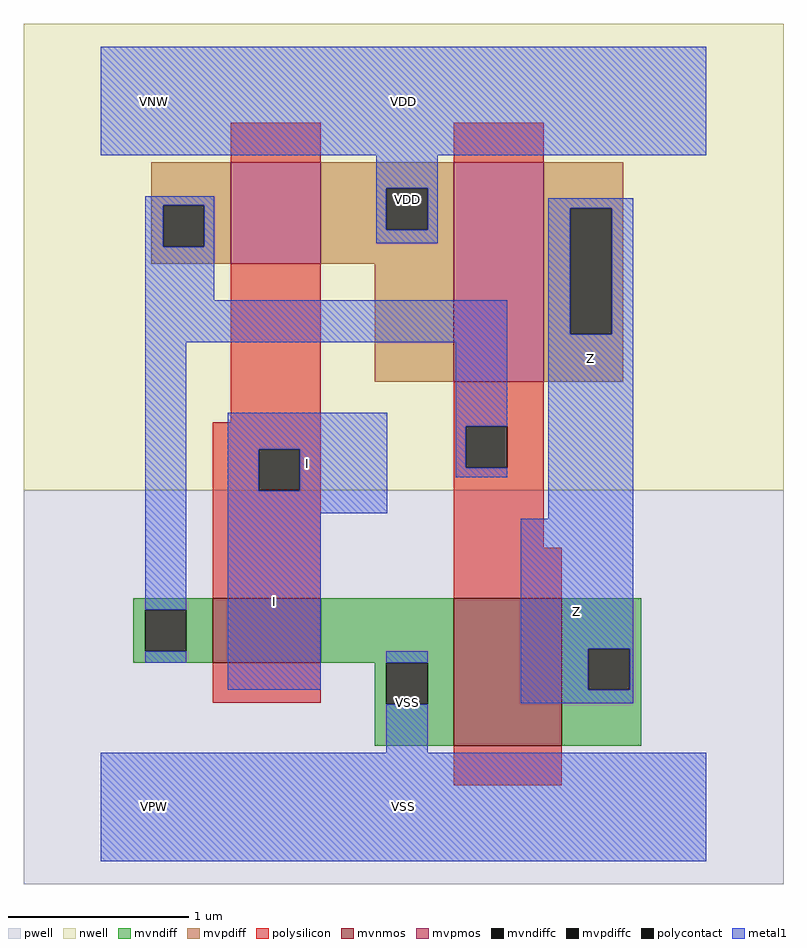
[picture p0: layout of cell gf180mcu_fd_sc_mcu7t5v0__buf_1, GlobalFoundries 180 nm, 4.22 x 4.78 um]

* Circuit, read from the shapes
.subckt gf180mcu_fd_sc_mcu7t5v0__buf_1 I Z VDD VNW VPW VSS
XM1 VSS I n1 VPW nfet_06v0 w=0.36u l=0.6u
XM2 Z n1 VSS VPW nfet_06v0 w=0.82u l=0.6u
XM3 VDD I n1 VNW pfet_06v0 w=0.565u l=0.5u
XM4 Z n1 VDD VNW pfet_06v0 w=1.22u l=0.5u
.ends

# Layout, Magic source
magic
tech gf180mcuD
magscale 1 10
<< nwell >>
rect -86 352 758 870
<< pwell >>
rect -86 -86 758 352
<< mvnmos >>
rect 124 160 244 232
rect 392 68 512 232
<< mvpmos >>
rect 144 603 244 716
rect 392 472 492 716
<< mvndiff >>
rect 36 219 124 232
rect 36 173 49 219
rect 95 173 124 219
rect 36 160 124 173
rect 244 160 392 232
rect 304 114 317 160
rect 363 114 392 160
rect 304 68 392 114
rect 512 176 600 232
rect 512 130 541 176
rect 587 130 600 176
rect 512 68 600 130
<< mvpdiff >>
rect 56 668 144 716
rect 56 622 69 668
rect 115 622 144 668
rect 56 603 144 622
rect 244 687 392 716
rect 244 641 317 687
rect 363 641 392 687
rect 244 603 392 641
rect 304 472 392 603
rect 492 665 580 716
rect 492 525 521 665
rect 567 525 580 665
rect 492 472 580 525
<< mvndiffc >>
rect 49 173 95 219
rect 317 114 363 160
rect 541 130 587 176
<< mvpdiffc >>
rect 69 622 115 668
rect 317 641 363 687
rect 521 525 567 665
<< polysilicon >>
rect 144 716 244 760
rect 392 716 492 760
rect 144 427 244 603
rect 124 397 244 427
rect 124 351 175 397
rect 221 351 244 397
rect 124 232 244 351
rect 392 423 492 472
rect 392 377 405 423
rect 451 377 492 423
rect 392 288 492 377
rect 392 232 512 288
rect 124 116 244 160
rect 392 24 512 68
<< polycontact >>
rect 175 351 221 397
rect 405 377 451 423
<< metal1 >>
rect 0 724 672 844
rect 306 687 374 724
rect 49 668 126 678
rect 49 622 69 668
rect 115 622 126 668
rect 306 641 317 687
rect 363 641 374 687
rect 306 626 374 641
rect 497 665 591 676
rect 49 563 126 622
rect 49 516 451 563
rect 49 219 95 516
rect 49 160 95 173
rect 141 397 318 438
rect 141 351 175 397
rect 221 351 318 397
rect 394 423 451 516
rect 394 377 405 423
rect 394 366 451 377
rect 497 525 521 665
rect 567 525 591 665
rect 141 326 318 351
rect 141 130 244 326
rect 497 320 591 525
rect 466 176 591 320
rect 317 160 363 173
rect 466 130 541 176
rect 587 130 591 176
rect 466 115 591 130
rect 317 60 363 114
rect 0 -60 672 60
<< labels >>
flabel metal1 s 317 60 363 173 0 FreeSans 400 0 0 0 VSS
port 6 nsew ground bidirectional abutment
flabel metal1 s 497 320 591 676 0 FreeSans 400 0 0 0 Z
port 2 nsew default output
flabel metal1 s 141 326 318 438 0 FreeSans 400 0 0 0 I
port 1 nsew default input
flabel metal1 s 0 724 672 844 0 FreeSans 400 0 0 0 VDD
port 3 nsew power bidirectional abutment
flabel nwell s 10 734 110 834 0 FreeSans 400 0 0 0 VNW
port 4 nsew power bidirectional
flabel pwell s 10 -50 110 50 0 FreeSans 400 0 0 0 VPW
port 5 nsew ground bidirectional
rlabel metal1 s 141 130 244 326 1 I
port 1 nsew default input
rlabel metal1 s 466 115 591 320 1 Z
port 2 nsew default output
rlabel metal1 s 306 626 374 724 1 VDD
port 3 nsew power bidirectional abutment
rlabel metal1 s 0 -60 672 60 1 VSS
port 6 nsew ground bidirectional abutment
<< properties >>
string FIXED_BBOX 0 0 672 784
string GDS_END 1333148
string GDS_FILE $PDKPATH/libs.ref/gf180mcu_fd_sc_mcu7t5v0/gds/gf180mcu_fd_sc_mcu7t5v0.gds
string GDS_START 1330632
string LEFclass core
string LEFsite GF018hv5v_mcu_sc7
string LEFsymmetry X Y
string MASKHINTS_DUALGATE -56 764 64 840 572 764 728 840 -56 555 8 764 -56 280 44 555 628 424 728 764 592 280 728 424 -56 112 -12 280 -56 36 44 112 -56 20 256 36 648 20 728 280 -56 -56 312 20 592 -56 728 20
string MASKHINTS_NPLUS -40 278 712 352 -40 264 78 278 558 264 712 278 -40 128 4 264 -40 114 78 128 -40 36 272 114 632 36 712 264 -40 22 346 36 558 22 712 36 -40 -40 712 22
string MASKHINTS_PPLUS -40 762 712 824 -40 748 98 762 538 748 712 762 -40 571 24 748 -40 557 98 571 -40 440 272 557 612 440 712 748 -40 426 346 440 538 426 712 440 -40 352 712 426
<< end >>
